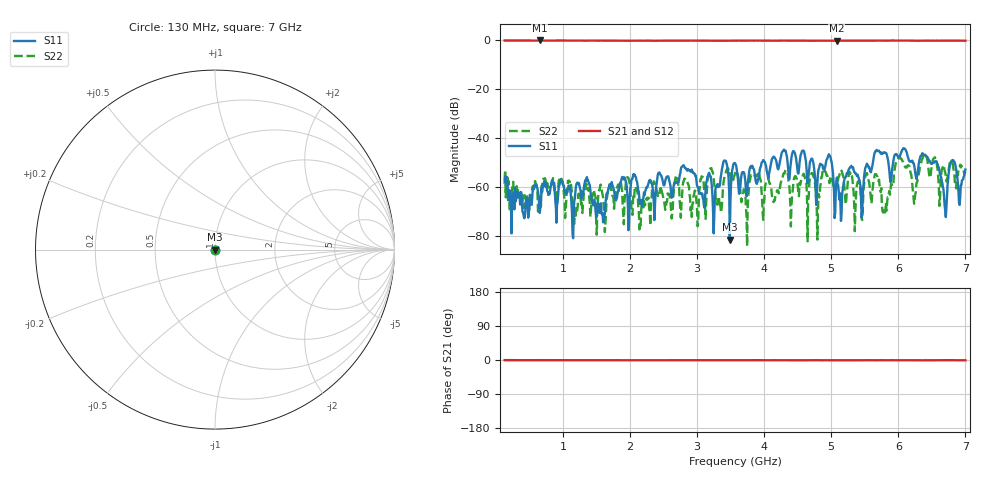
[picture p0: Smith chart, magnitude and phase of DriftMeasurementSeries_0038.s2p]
# Hz S RI R 50.000000
! Metas.Vna.Tools, 2.8.8664.20301
! Metas.Vna.Data, 2.8.8664.20285
! Created: UTC 2024.02.11 10:08:18
! FREQ  re:S1,1  im:S1,1  re:S2,1  im:S2,1  re:S1,2  im:S1,2  re:S2,2  im:S2,2
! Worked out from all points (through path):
!   801 points, 130 MHz to 7 GHz, reference 50 ohm
!   highest |S21| = -0.04 dB at 653.8 MHz (marker M1); lowest = -0.2 dB at 5.085 GHz (marker M2)
!   lowest |S11| = -81.3 dB at 3.488 GHz (marker M3), VSWR 1.00, Z = 50 - j0.00634 ohm
!   |S11| at or under -10 dB: start of sweep to end of sweep
!   |S22| runs from -84.0 to -46.4 dB; largest |S21 - S12| = 0.019
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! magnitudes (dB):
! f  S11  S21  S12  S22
! 130 MHz  -58.0  -0.1  0.0  -57.2
! 653.8 MHz  -70.4  0.0  0.0  -66.2
! 1.281 GHz  -61.8  -0.1  0.0  -66.3
! 1.59 GHz  -70.4  -0.1  0.0  -62.8
! 2.423 GHz  -54.1  -0.1  0.0  -62.5
! 2.99 GHz  -57.1  -0.1  0.0  -65.8
! 3.204 GHz  -55.6  -0.1  0.0  -52.1
! 3.333 GHz  -59.5  -0.2  0.0  -66.9
! 3.488 GHz  -81.3  -0.1  0.0  -54.8
! 3.565 GHz  -50.1  -0.1  0.0  -54.4
! 3.737 GHz  -63.6  -0.1  0.0  -71.7
! 4.716 GHz  -48.3  -0.1  0.0  -54.1
! 4.802 GHz  -54.6  -0.1  0.0  -70.4
! 4.973 GHz  -46.9  -0.1  0.0  -58.3
! 5.085 GHz  -56.0  -0.2  0.0  -58.0
! 5.858 GHz  -51.1  -0.1  0.0  -62.6
! 6.012 GHz  -47.6  -0.1  0.0  -48.0
! 6.244 GHz  -52.3  -0.1  0.0  -64.9
! 6.382 GHz  -46.6  -0.1  0.0  -46.6
! 6.699 GHz  -69.4  -0.1  0.0  -53.8
! 6.802 GHz  -49.0  -0.1  0.0  -49.4
! 7 GHz  -52.7  -0.1  0.0  -54.3
